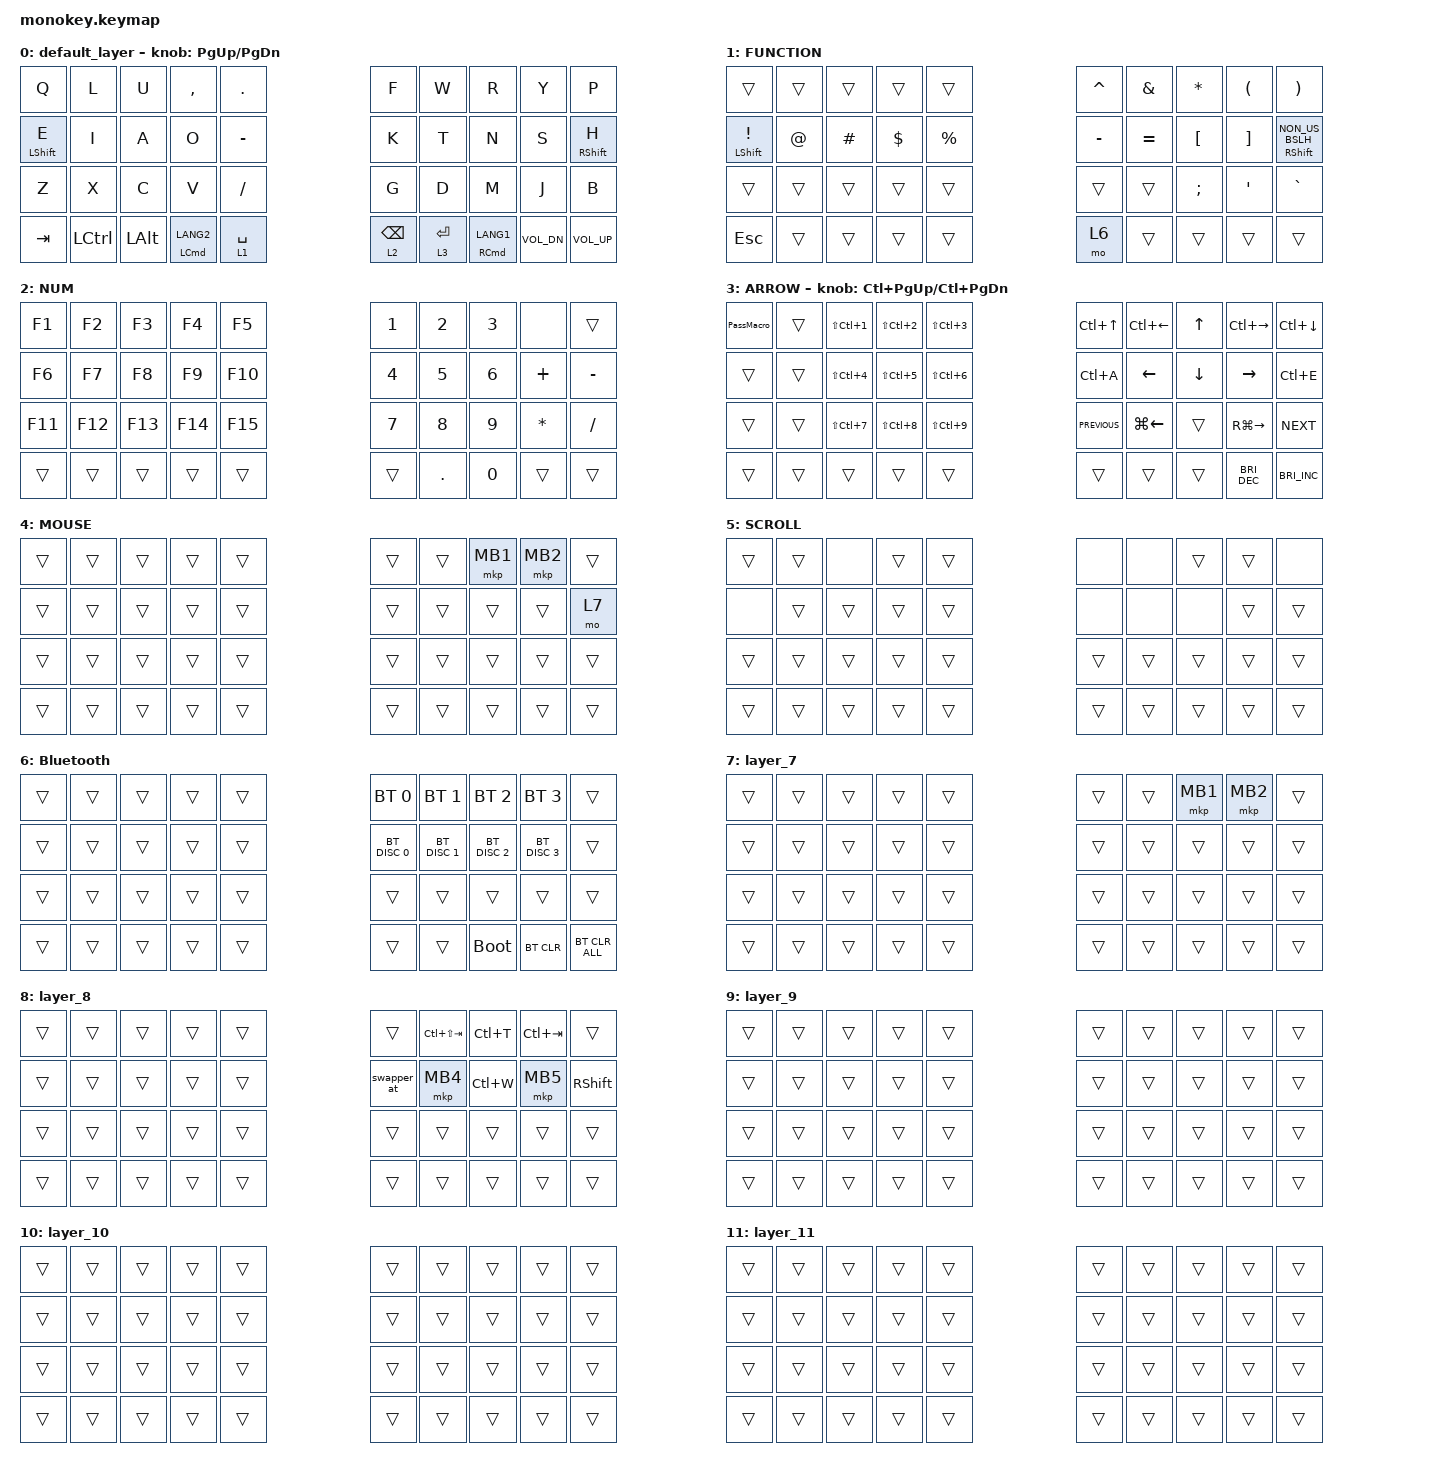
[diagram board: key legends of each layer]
#include <behaviors.dtsi>
#include <dt-bindings/zmk/bt.h>
#include <dt-bindings/zmk/keys.h>
#include <dt-bindings/zmk/pointing.h>

#define MOUSE 4
#define SCROLL 5
#define NUM 6

&mt {
    flavor = "balanced";
    quick-tap-ms = <300>;
};

&lt { quick-tap-ms = <300>; };

/ {
    combos {
        compatible = "zmk,combos";

        scroll {
            bindings = <&mo 5>;
            key-positions = <8 7>;
        };

        mb3 {
            bindings = <&mkp MB3>;
            key-positions = <19 8>;
        };

        tab {
            bindings = <&kp TAB>;
            key-positions = <1 2>;
        };

        esc {
            bindings = <&kp ESCAPE>;
            key-positions = <0 1>;
        };
    };

    behaviors {
        right_click: right_click_behavior {
            compatible = "zmk,behavior-mouse-key";
            label = "RIGHT_CLICK";
            #binding-cells = <0>;

            // 右クリックは通常 MB2 に対応（ZMKの標準定義）

            bindings = <&mkp MB2>;
        };

        swapper_at: swapper_at {
            compatible = "zmk,behavior-tri-state";
            #binding-cells = <0>;
            bindings = <&kt LALT>, <&kp TAB>, <&kt LALT>;

            ignored-key-positions = <0 1 2 3 4 5 6 7 8 9 10 11 12 13 14 15 16 17 18 19 20 21 22 23 24 25 26 27 28 29>;
        };

        swapper_ast: swapper_ast {
            compatible = "zmk,behavior-tri-state";
            #binding-cells = <0>;
            bindings = <&kt LS(LALT)>, <&kp TAB>, <&kt LS(LALT)>;

            ignored-key-positions = <0 1 2 3 4 5 6 7 8 9 10 11 12 13 14 15 16 17 18 19 20 21 22 23 24 25 26 27 28 29>;
        };

        swapper_ct: swapper_ct {
            compatible = "zmk,behavior-tri-state";
            #binding-cells = <0>;
            bindings = <&kt LCTRL>, <&kp TAB>, <&kt LCTRL>;

            ignored-key-positions = <0 1 2 3 4 5 6 7 8 9 10 11 12 13 14 15 16 17 18 19 20 21 22 23 24 25 26 27 28 29>;
        };

        swapper_cst: swapper_cst {
            compatible = "zmk,behavior-tri-state";
            #binding-cells = <0>;
            bindings = <&kt LS(LCTRL)>, <&kp TAB>, <&kt LS(LCTRL)>;

            ignored-key-positions = <0 1 2 3 4 5 6 7 8 9 10 11 12 13 14 15 16 17 18 19 20 21 22 23 24 25 26 27 28 29>;
        };

        swapper_gt: swapper_gt {
            compatible = "zmk,behavior-tri-state";
            #binding-cells = <0>;
            bindings = <&kt LGUI>, <&kp TAB>, <&kt LGUI>;

            ignored-key-positions = <0 1 2 3 4 5 6 7 8 9 10 11 12 13 14 15 16 17 18 19 20 21 22 23 24 25 26 27 28 29>;
        };
    };

    macros {
        PassMacro: new_macro {
            compatible = "zmk,behavior-macro";
            #binding-cells = <0>;
            bindings = <&kp H &kp E &kp L &kp I &kp O &kp MINUS &kp N9 &kp N6 &kp N1 &kp N7>;
            label = "NEW_MACRO";
        };
    };

    keymap {
        compatible = "zmk,keymap";

        default_layer {
            bindings = <
&kp Q             &kp L      &kp U         &kp COMMA               &kp PERIOD                                 &kp F                    &kp W  &kp R  &kp Y         &kp P
&mt LEFT_SHIFT E  &kp I      &kp A         &kp O                   &kp MINUS                                  &kp K                    &kp T  &kp N  &kp S         &mt RIGHT_SHIFT H
&kp Z             &kp X      &kp C         &kp V                   &kp SLASH                                  &kp G                    &kp D  &kp M  &kp J         &kp B
&kp TAB           &kp LCTRL  &kp LEFT_ALT  &mt LEFT_COMMAND LANG2  &lt 1 SPACE  &lt 2 BACKSPACE  &lt 3 ENTER  &mt RIGHT_COMMAND LANG1                &kp C_VOL_DN  &kp C_VOLUME_UP
            >;

            sensor-bindings = <&inc_dec_kp PG_UP PAGE_DOWN>;
        };

        FUNCTION {
            bindings = <
&trans               &trans  &trans    &trans      &trans                      &kp CARET  &kp AMPERSAND  &kp ASTERISK      &kp LEFT_PARENTHESIS  &kp RIGHT_PARENTHESIS
&mt LEFT_SHIFT EXCL  &kp AT  &kp HASH  &kp DOLLAR  &kp PERCENT                 &kp MINUS  &kp EQUAL      &kp LEFT_BRACKET  &kp RIGHT_BRACKET     &mt RIGHT_SHIFT NON_US_BSLH
&trans               &trans  &trans    &trans      &trans                      &trans     &trans         &kp SEMICOLON     &kp SINGLE_QUOTE      &kp GRAVE
&kp ESCAPE           &trans  &trans    &trans      &trans       &mo 6  &trans  &trans                                      &trans                &trans
            >;
        };

        NUM {
            bindings = <
&kp F1   &kp F2   &kp F3   &kp F4   &kp F5                       &kp NUMBER_1  &kp NUMBER_2  &kp NUMBER_3  &none         &trans
&kp F6   &kp F7   &kp F8   &kp F9   &kp F10                      &kp NUMBER_4  &kp N5        &kp NUMBER_6  &kp PLUS      &kp MINUS
&kp F11  &kp F12  &kp F13  &kp F14  &kp F15                      &kp N7        &kp N8        &kp N9        &kp ASTERISK  &kp SLASH
&trans   &trans   &trans   &trans   &trans   &trans  &kp PERIOD  &kp N0                                    &trans        &trans
            >;
        };

        ARROW {
            bindings = <
&PassMacro  &trans  &kp LS(LC(NUMBER_1))  &kp LS(LC(NUMBER_2))  &kp LS(LC(NUMBER_3))                  &kp LC(UP_ARROW)  &kp LC(LEFT_ARROW)  &kp UP_ARROW    &kp LC(RIGHT)    &kp LC(DOWN_ARROW)
&trans      &trans  &kp LS(LC(NUMBER_4))  &kp LS(LC(N5))        &kp LS(LC(NUMBER_6))                  &kp LC(A)         &kp LEFT_ARROW      &kp DOWN_ARROW  &kp RIGHT_ARROW  &kp LC(E)
&trans      &trans  &kp LS(LC(N7))        &kp LS(LC(N8))        &kp LS(LC(N9))                        &kp C_PREVIOUS    &kp LG(LEFT)        &trans          &kp RG(RIGHT)    &kp C_NEXT
&trans      &trans  &trans                &trans                &trans                &trans  &trans  &trans                                                &kp C_BRI_DEC    &kp C_BRI_INC
            >;

            sensor-bindings = <&inc_dec_kp LC(PAGE_UP) LC(PAGE_DOWN)>;
        };

        MOUSE {
            bindings = <
&trans  &trans  &trans  &trans  &trans                  &trans  &trans  &mkp MB1  &mkp MB2  &trans
&trans  &trans  &trans  &trans  &trans                  &trans  &trans  &trans    &trans    &mo 7
&trans  &trans  &trans  &trans  &trans                  &trans  &trans  &trans    &trans    &trans
&trans  &trans  &trans  &trans  &trans  &trans  &trans  &trans                    &trans    &trans
            >;
        };

        SCROLL {
            bindings = <
&trans  &trans  &none   &trans  &trans                  &none   &none   &trans  &trans  &none
&none   &trans  &trans  &trans  &trans                  &none   &none   &none   &trans  &trans
&trans  &trans  &trans  &trans  &trans                  &trans  &trans  &trans  &trans  &trans
&trans  &trans  &trans  &trans  &trans  &trans  &trans  &trans                  &trans  &trans
            >;
        };

        Bluetooth {
            bindings = <
&trans  &trans  &trans  &trans  &trans                  &bt BT_SEL 0   &bt BT_SEL 1   &bt BT_SEL 2   &bt BT_SEL 3   &trans
&trans  &trans  &trans  &trans  &trans                  &bt BT_DISC 0  &bt BT_DISC 1  &bt BT_DISC 2  &bt BT_DISC 3  &trans
&trans  &trans  &trans  &trans  &trans                  &trans         &trans         &trans         &trans         &trans
&trans  &trans  &trans  &trans  &trans  &trans  &trans  &bootloader                                  &bt BT_CLR     &bt BT_CLR_ALL
            >;
        };

        layer_7 {
            bindings = <
&trans  &trans  &trans  &trans  &trans                  &trans  &trans  &mkp MB1  &mkp MB2  &trans
&trans  &trans  &trans  &trans  &trans                  &trans  &trans  &trans    &trans    &trans
&trans  &trans  &trans  &trans  &trans                  &trans  &trans  &trans    &trans    &trans
&trans  &trans  &trans  &trans  &trans  &trans  &trans  &trans                    &trans    &trans
            >;
        };

        layer_8 {
            bindings = <
&trans  &trans  &trans  &trans  &trans                  &trans       &kp LC(LS(TAB))  &kp LC(T)  &kp LC(TAB)  &trans
&trans  &trans  &trans  &trans  &trans                  &swapper_at  &mkp MB4         &kp LC(W)  &mkp MB5     &kp RIGHT_SHIFT
&trans  &trans  &trans  &trans  &trans                  &trans       &trans           &trans     &trans       &trans
&trans  &trans  &trans  &trans  &trans  &trans  &trans  &trans                                   &trans       &trans
            >;
        };

        layer_9 {
            bindings = <
&trans  &trans  &trans  &trans  &trans                  &trans  &trans  &trans  &trans  &trans
&trans  &trans  &trans  &trans  &trans                  &trans  &trans  &trans  &trans  &trans
&trans  &trans  &trans  &trans  &trans                  &trans  &trans  &trans  &trans  &trans
&trans  &trans  &trans  &trans  &trans  &trans  &trans  &trans                  &trans  &trans
            >;
        };

        layer_10 {
            bindings = <
&trans  &trans  &trans  &trans  &trans                  &trans  &trans  &trans  &trans  &trans
&trans  &trans  &trans  &trans  &trans                  &trans  &trans  &trans  &trans  &trans
&trans  &trans  &trans  &trans  &trans                  &trans  &trans  &trans  &trans  &trans
&trans  &trans  &trans  &trans  &trans  &trans  &trans  &trans                  &trans  &trans
            >;
        };

        layer_11 {
            bindings = <
&trans  &trans  &trans  &trans  &trans                  &trans  &trans  &trans  &trans  &trans
&trans  &trans  &trans  &trans  &trans                  &trans  &trans  &trans  &trans  &trans
&trans  &trans  &trans  &trans  &trans                  &trans  &trans  &trans  &trans  &trans
&trans  &trans  &trans  &trans  &trans  &trans  &trans  &trans                  &trans  &trans
            >;
        };
    };
};
